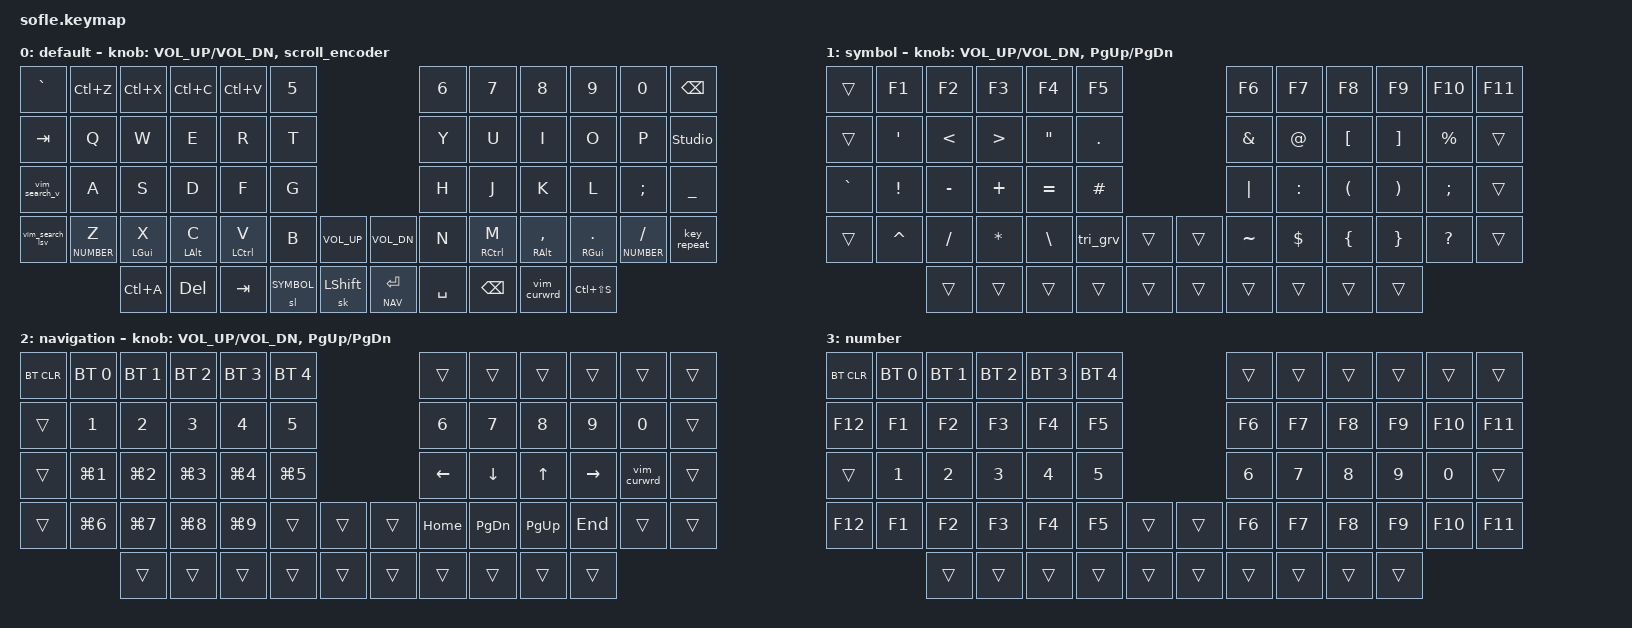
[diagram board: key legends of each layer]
/*
 * Copyright (c) 2020 The ZMK Contributors
 *
 * SPDX-License-Identifier: MIT
 */


#define ZMK_POINTING_DEFAULT_MOVE_VAL 1200  // 600
#define ZMK_POINTING_DEFAULT_SCRL_VAL 25   // 10

#include <behaviors.dtsi>
#include <dt-bindings/zmk/keys.h>
#include <dt-bindings/zmk/bt.h>
#include <dt-bindings/zmk/rgb.h>
#include <dt-bindings/zmk/ext_power.h>
#include <dt-bindings/zmk/pointing.h>

#define BASE 0
#define SYMBOL 1
#define NAV 2
#define NUMBER 3

&msc {
    acceleration-exponent = <1>;      // 0
    time-to-max-speed-ms = <100>;       // 300
    delay-ms = <0>;                   // 0
};

&mmv {
    time-to-max-speed-ms = <500>;
    acceleration-exponent = <1>;
    trigger-period-ms = <16>;
};

&mt {
    flavor = "balanced";
    require-prior-idle-ms = <100>;
};

&lt {
    flavor = "balanced";
    require-prior-idle-ms = <125>;
};

/ {
    macros {
        tri_grv: tri_grv {
            compatible = "zmk,behavior-macro";
            #binding-cells = <0>;
            bindings
                = <&macro_tap &kp GRAVE &kp GRAVE &kp GRAVE>;
        };
        vim_search_v: vim_search_v {
            compatible = "zmk,behavior-macro";
            #binding-cells = <0>;
            wait-ms = <40>;
            tap-ms = <40>;
            bindings
                = <&kp FSLH &kp BSLH &kp V>;
        };
        vim_search_lsv: vim_search_lsv {
            compatible = "zmk,behavior-macro";
            #binding-cells = <0>;
            wait-ms = <30>;
            tap-ms = <40>;
            bindings
                = <&kp FSLH &kp BSLH &kp LS(V)>;
        };
        single_arrow: single_arrow {
            compatible = "zmk,behavior-macro";
            #binding-cells = <0>;
            wait-ms = <30>;
            tap-ms = <40>;
            bindings
                = <&kp MINUS &kp GT >;
        };
        double_arrow: double_arrow {
            compatible = "zmk,behavior-macro";
            #binding-cells = <0>;
            wait-ms = <30>;
            tap-ms = <40>;
            bindings
                = <&kp EQUAL &kp GT >;
        };
        vim_curwrd: vim_curwrd {
            compatible = "zmk,behavior-macro";
            #binding-cells = <0>;
            wait-ms = <30>;
            tap-ms = <40>;
            bindings
                = <&kp STAR &kp LS(N) >;
        };
    };

    combos {
        compatible = "zmk,combos";
        combo_esc {
            timeout-ms = <50>;
            key-positions = <31 32>;
            bindings = <&kp ESC>;
        };
        combo_tab {
            timeout-ms = <50>;
            key-positions = <27 28>;
            bindings = <&kp TAB>;
        };
        combo_capsword {
            timeout-ms = <50>;
            key-positions = <15 16>;
            bindings = <&caps_word>;
        };
        combo_repeat {
            timeout-ms = <50>;
            key-positions = <19 20>;
            bindings = <&key_repeat>;
        };
    };


    scroll_encoder: scroll_encoder {
        compatible = "zmk,behavior-sensor-rotate";
        #sensor-binding-cells = <0>;
        bindings = <&msc SCRL_DOWN>, <&msc SCRL_UP>;

        tap-ms = <100>;
    };

    keymap {
        compatible = "zmk,keymap";

        default_layer {
            display-name = "default";
            bindings = <
&kp GRAVE          &kp LC(Z)      &kp LC(X)   &kp LC(C)     &kp LC(V)      &kp N5                                   &kp N6     &kp N7        &kp N8           &kp N9         &kp N0           &kp BSPC
&kp TAB            &kp Q          &kp W       &kp E         &kp R          &kp T                                    &kp Y      &kp U         &kp I            &kp O          &kp P            &studio_unlock
&vim_search_v      &kp A          &kp S       &kp D         &kp F          &kp G                                    &kp H      &kp J         &kp K            &kp L          &kp SEMI         &kp UNDER
&vim_search_lsv    &lt NUMBER Z   &mt LGUI X  &mt LALT C    &mt LCTRL V    &kp B       &kp C_VOL_UP &kp C_VOL_DN    &kp N      &mt RCTRL M   &mt RALT COMMA   &mt RGUI DOT   &lt NUMBER FSLH  &key_repeat
                                  &kp LC(A)   &kp DEL       &kp TAB        &sl SYMBOL  &sk LSHFT    &lt NAV RET     &kp SPACE  &kp BSPC      &vim_curwrd      &kp LC(LS(S))
            >;

            sensor-bindings = <&inc_dec_kp C_VOL_UP C_VOL_DN &scroll_encoder>;
        };

        symbol_layer {
            display-name = "symbol";
            bindings = <
&trans    &kp F1    &kp F2    &kp F3      &kp F4    &kp F5                    &kp F6    &kp F7    &kp F8    &kp F9    &kp F10   &kp F11
&trans    &kp SQT   &kp LT    &kp GT      &kp DQT   &kp DOT                   &kp AMPS  &kp AT &kp LBKT  &kp RBKT  &kp PRCNT &trans
&kp GRAVE &kp EXCL  &kp MINUS &kp PLUS    &kp EQUAL &kp HASH                  &kp PIPE  &kp COLON &kp LPAR  &kp RPAR  &kp SEMI  &trans
&trans    &kp CARET &kp FSLH  &kp STAR    &kp BSLH  &tri_grv    &trans &trans &kp TILDE &kp DLLR  &kp LBRC  &kp RBRC  &kp QMARK    &trans
                    &trans    &trans      &trans    &trans      &trans &trans &trans    &trans   &trans          &trans
            >;

            sensor-bindings = <&inc_dec_kp C_VOL_UP C_VOL_DN &inc_dec_kp PG_UP PG_DN>;
        };

        navigation_layer {
            display-name = "navigation";
            bindings = <
&bt BT_CLR &bt BT_SEL 0 &bt BT_SEL 1 &bt BT_SEL 2 &bt BT_SEL 3 &bt BT_SEL 4                  &trans      &trans        &trans       &trans        &trans         &trans
&trans     &kp N1       &kp N2       &kp N3       &kp N4       &kp N5                        &kp N6      &kp N7        &kp N8       &kp N9        &kp N0         &trans
&trans     &kp LG(N1)   &kp LG(N2)   &kp LG(N3)   &kp LG(N4)   &kp LG(N5)                    &kp LEFT    &kp DOWN      &kp UP       &kp RIGHT     &vim_curwrd    &trans
&trans     &kp LG(N6)   &kp LG(N7)   &kp LG(N8)   &kp LG(N9)   &trans     &trans  &trans     &kp HOME    &kp PG_DN     &kp PG_UP    &kp END       &trans         &trans
                        &trans       &trans       &trans       &trans     &trans  &trans     &trans      &trans        &trans       &trans
            >;

            sensor-bindings = <&inc_dec_kp C_VOL_UP C_VOL_DN &inc_dec_kp PG_UP PG_DN>;
        };

        number_layer {
            display-name = "number";
            bindings = <
&bt BT_CLR &bt BT_SEL 0 &bt BT_SEL 1 &bt BT_SEL 2 &bt BT_SEL 3 &bt BT_SEL 4                  &trans      &trans        &trans       &trans        &trans       &trans
&kp F12    &kp F1       &kp F2       &kp F3       &kp F4       &kp F5                        &kp F6      &kp F7        &kp F8       &kp F9        &kp F10      &kp F11
&trans     &kp N1       &kp N2       &kp N3       &kp N4       &kp N5                        &kp N6      &kp N7        &kp N8       &kp N9        &kp N0       &trans
&kp F12    &kp F1       &kp F2       &kp F3       &kp F4       &kp F5     &trans  &trans     &kp F6      &kp F7        &kp F8       &kp F9        &kp F10      &kp F11
                        &trans       &trans       &trans       &trans     &trans  &trans     &trans      &trans        &trans       &trans
            >;
        };

    };
};
